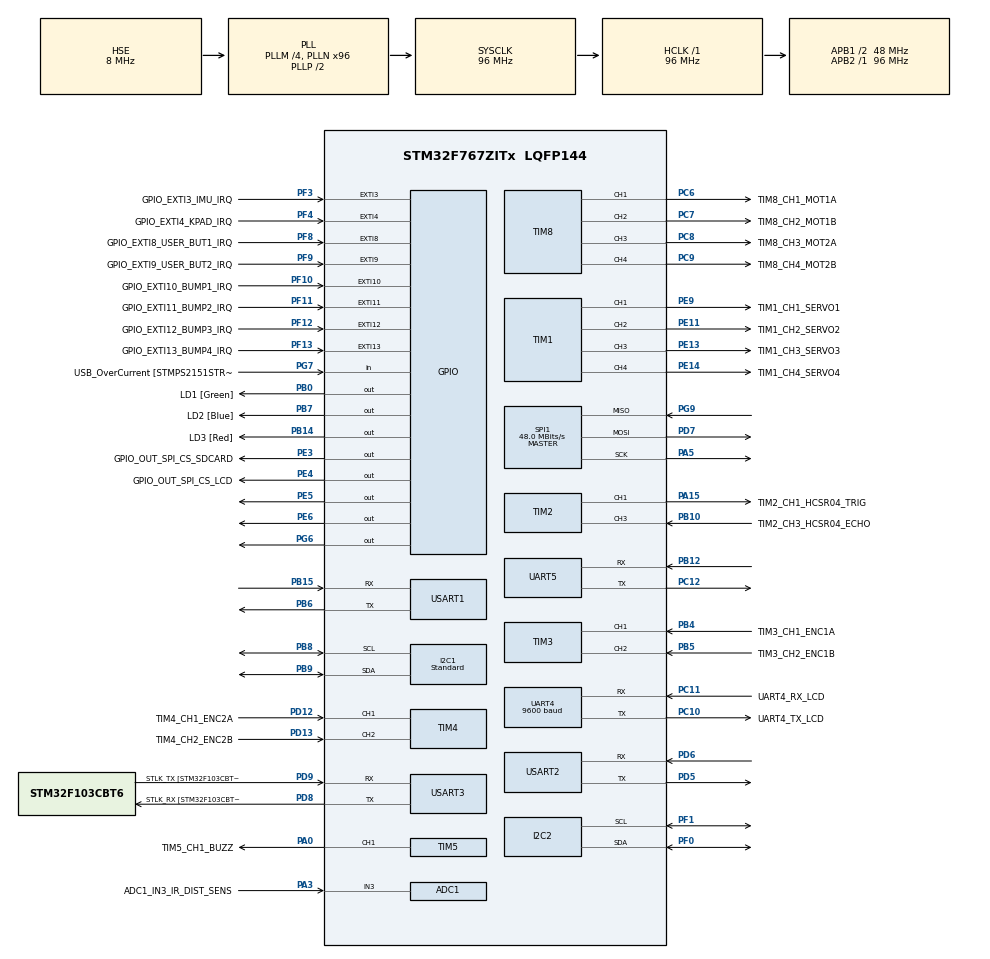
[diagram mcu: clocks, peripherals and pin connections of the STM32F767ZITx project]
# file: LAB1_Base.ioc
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ADC1.Channel-1\#ChannelRegularConversion=ADC_CHANNEL_3
ADC1.NbrOfConversionFlag=1
ADC1.Rank-1\#ChannelRegularConversion=1
ADC1.SamplingTime-1\#ChannelRegularConversion=ADC_SAMPLETIME_3CYCLES
ADC1.master=1
I2C1.I2C_Speed_Mode=I2C_Standard
I2C1.Timing=0x20303E5D
I2C2.Timing=0x20303E5D
Mcu.Family=STM32F7
Mcu.Name=STM32F767ZITx
Mcu.Package=LQFP144
Mcu.UserConstants=TIM8_PSC_VALUE,959;TIM8_ARR_VALUE,400;TIM1_PSC_VALUE,959;TIM1_ARR_VALUE,200
NVIC.EXTI4_IRQn=true\:1\:0\:true\:false\:true\:true\:true\:true
NVIC.EXTI9_5_IRQn=true\:0\:0\:false\:false\:true\:true\:true\:true
NVIC.PriorityGroup=NVIC_PRIORITYGROUP_4
PA0/WKUP.GPIO_Label=TIM5_CH1_BUZZ
PA0/WKUP.Signal=S_TIM5_CH1
PA1.GPIO_Label=RMII_REF_CLK [LAN8742A-CZ-TR_REFCLK0]
PA1.Signal=ETH_REF_CLK
PA10.GPIO_Label=USB_ID
PA10.Signal=USB_OTG_FS_ID
PA11.GPIO_Label=USB_DM
PA11.Signal=USB_OTG_FS_DM
PA12.GPIO_Label=USB_DP
PA12.Signal=USB_OTG_FS_DP
PA13.GPIO_Label=TMS
PA13.Mode=Serial_Wire
PA13.Signal=SYS_JTMS-SWDIO
PA14.GPIO_Label=TCK
PA14.Mode=Serial_Wire
PA14.Signal=SYS_JTCK-SWCLK
PA15.GPIO_Label=TIM2_CH1_HCSR04_TRIG
PA15.Signal=S_TIM2_CH1_ETR
PA2.GPIO_Label=RMII_MDIO [LAN8742A-CZ-TR_MDIO]
PA2.Signal=ETH_MDIO
PA3.GPIO_Label=ADC1_IN3_IR_DIST_SENS
PA3.Signal=ADCx_IN3
PA5.Mode=Full_Duplex_Master
PA5.Signal=SPI1_SCK
PA7.GPIO_Label=RMII_CRS_DV [LAN8742A-CZ-TR_CRS_DV]
PA7.Signal=ETH_CRS_DV
PA8.GPIO_Label=USB_SOF [TP1]
PA8.Signal=USB_OTG_FS_SOF
PA9.GPIO_Label=USB_VBUS
PA9.Signal=USB_OTG_FS_VBUS
PB0.GPIO_Label=LD1 [Green]
PB0.Signal=GPIO_Output
PB10.GPIO_Label=TIM2_CH3_HCSR04_ECHO
PB10.Signal=S_TIM2_CH3
PB12.Mode=Asynchronous
PB12.Signal=UART5_RX
PB13.GPIO_Label=RMII_TXD1 [LAN8742A-CZ-TR_TXD1]
PB13.Signal=ETH_TXD1
PB14.GPIO_Label=LD3 [Red]
PB14.Signal=GPIO_Output
PB15.Mode=Asynchronous
PB15.Signal=USART1_RX
PB3.GPIO_Label=SWO
PB3.Signal=SYS_JTDO-SWO
PB4.GPIO_Label=TIM3_CH1_ENC1A
PB4.Signal=S_TIM3_CH1
PB5.GPIO_Label=TIM3_CH2_ENC1B
PB5.Signal=S_TIM3_CH2
PB6.Mode=Asynchronous
PB6.Signal=USART1_TX
PB7.GPIO_Label=LD2 [Blue]
PB7.Signal=GPIO_Output
PB8.GPIO_Pu=GPIO_PULLUP
PB8.Mode=I2C
PB8.Signal=I2C1_SCL
PB9.GPIO_Pu=GPIO_PULLUP
PB9.Mode=I2C
PB9.Signal=I2C1_SDA
PC1.GPIO_Label=RMII_MDC [LAN8742A-CZ-TR_MDC]
PC1.Signal=ETH_MDC
PC10.GPIO_Label=UART4_TX_LCD
PC10.Mode=Asynchronous
PC10.Signal=UART4_TX
PC11.GPIO_Label=UART4_RX_LCD
PC11.Mode=Asynchronous
PC11.Signal=UART4_RX
PC12.Mode=Asynchronous
PC12.Signal=UART5_TX
PC14/OSC32_IN.Mode=LSE-External-Oscillator
PC14/OSC32_IN.Signal=RCC_OSC32_IN
PC15/OSC32_OUT.Mode=LSE-External-Oscillator
PC15/OSC32_OUT.Signal=RCC_OSC32_OUT
PC4.GPIO_Label=RMII_RXD0 [LAN8742A-CZ-TR_RXD0]
PC4.Signal=ETH_RXD0
PC5.GPIO_Label=RMII_RXD1 [LAN8742A-CZ-TR_RXD1]
PC5.Signal=ETH_RXD1
PC6.GPIO_Label=TIM8_CH1_MOT1A
PC6.Signal=S_TIM8_CH1
PC7.GPIO_Label=TIM8_CH2_MOT1B
PC7.Signal=S_TIM8_CH2
PC8.GPIO_Label=TIM8_CH3_MOT2A
PC8.Signal=S_TIM8_CH3
PC9.GPIO_Label=TIM8_CH4_MOT2B
PC9.Signal=S_TIM8_CH4
PD12.GPIO_Label=TIM4_CH1_ENC2A
PD12.Signal=S_TIM4_CH1
PD13.GPIO_Label=TIM4_CH2_ENC2B
PD13.Signal=S_TIM4_CH2
PD5.Mode=Asynchronous
PD5.Signal=USART2_TX
PD6.Mode=Asynchronous
PD6.Signal=USART2_RX
PD7.Mode=Full_Duplex_Master
PD7.Signal=SPI1_MOSI
PD8.GPIO_Label=STLK_RX [STM32F103CBT6_PA3]
PD8.Mode=Asynchronous
PD8.Signal=USART3_TX
PD9.GPIO_Label=STLK_TX [STM32F103CBT6_PA2]
PD9.Mode=Asynchronous
PD9.Signal=USART3_RX
PE11.GPIO_Label=TIM1_CH2_SERVO2
PE11.Signal=S_TIM1_CH2
PE13.GPIO_Label=TIM1_CH3_SERVO3
PE13.Signal=S_TIM1_CH3
PE14.GPIO_Label=TIM1_CH4_SERVO4
PE14.Signal=S_TIM1_CH4
PE3.GPIO_Label=GPIO_OUT_SPI_CS_SDCARD
PE3.Signal=GPIO_Output
PE4.GPIO_Label=GPIO_OUT_SPI_CS_LCD
PE4.Signal=GPIO_Output
PE5.Signal=GPIO_Output
PE6.Signal=GPIO_Output
PE9.GPIO_Label=TIM1_CH1_SERVO1
PE9.Signal=S_TIM1_CH1
PF0.GPIO_Pu=GPIO_PULLUP
PF0.Mode=I2C
PF0.Signal=I2C2_SDA
PF1.GPIO_Pu=GPIO_PULLUP
PF1.Mode=I2C
PF1.Signal=I2C2_SCL
PF10.GPIO_Label=GPIO_EXTI10_BUMP1_IRQ
PF10.Signal=GPXTI10
PF11.GPIO_Label=GPIO_EXTI11_BUMP2_IRQ
PF11.Signal=GPXTI11
PF12.GPIO_Label=GPIO_EXTI12_BUMP3_IRQ
PF12.Signal=GPXTI12
PF13.GPIO_Label=GPIO_EXTI13_BUMP4_IRQ
PF13.Signal=GPXTI13
PF3.GPIO_Label=GPIO_EXTI3_IMU_IRQ
PF3.Signal=GPXTI3
PF4.GPIO_Label=GPIO_EXTI4_KPAD_IRQ
PF4.GPIO_ModeDefaultEXTI=GPIO_MODE_IT_FALLING
PF4.Signal=GPXTI4
PF8.GPIO_Label=GPIO_EXTI8_USER_BUT1_IRQ
PF8.Signal=GPXTI8
PF9.GPIO_Label=GPIO_EXTI9_USER_BUT2_IRQ
PF9.Signal=GPXTI9
PG11.GPIO_Label=RMII_TX_EN [LAN8742A-CZ-TR_TXEN]
PG11.Signal=ETH_TX_EN
PG13.GPIO_Label=RMII_TXD0 [LAN8742A-CZ-TR_TXD0]
PG13.Signal=ETH_TXD0
PG6.Signal=GPIO_Output
PG7.GPIO_Label=USB_OverCurrent [STMPS2151STR_FAULT]
PG7.Signal=GPIO_Input
PG9.Mode=Full_Duplex_Master
PG9.Signal=SPI1_MISO
PH0/OSC_IN.GPIO_Label=MCO [STM32F103CBT6_PA8]
PH0/OSC_IN.Mode=HSE-External-Clock-Source
PH0/OSC_IN.Signal=RCC_OSC_IN
PH1/OSC_OUT.Mode=HSE-External-Clock-Source
PH1/OSC_OUT.Signal=RCC_OSC_OUT
ProjectManager.HeapSize=0x200
ProjectManager.StackSize=0x400
ProjectManager.TargetToolchain=STM32CubeIDE
RCC.48MHZClocksFreq_Value=24000000
RCC.AHBFreq_Value=96000000
RCC.APB1CLKDivider=RCC_HCLK_DIV2
RCC.APB1Freq_Value=48000000
RCC.APB1TimFreq_Value=96000000
RCC.APB2Freq_Value=96000000
RCC.APB2TimFreq_Value=96000000
RCC.CortexFreq_Value=96000000
RCC.HCLKFreq_Value=96000000
RCC.HSE_VALUE=8000000
RCC.HSI_VALUE=16000000
RCC.PLLM=4
RCC.PLLMUL=RCC_PLL_MUL9
RCC.PLLN=96
RCC.PLLQ=4
RCC.PLLSourceVirtual=RCC_PLLSOURCE_HSE
RCC.PRESCALERUSB=RCC_USBCLKSOURCE_PLL_DIV1_5
RCC.SYSCLKFreq_VALUE=96000000
RCC.SYSCLKSource=RCC_SYSCLKSOURCE_PLLCLK
RCC.SYSCLKSourceVirtual=RCC_SYSCLKSOURCE_PLLCLK
RCC.USBFreq_Value=48000000
RCC.VCOOutputFreq_Value=192000000
SH.ADCx_IN3.0=ADC1_IN3,IN3
SH.S_TIM1_CH1.0=TIM1_CH1,PWM Generation1 CH1
SH.S_TIM1_CH2.0=TIM1_CH2,PWM Generation2 CH2
SH.S_TIM1_CH3.0=TIM1_CH3,PWM Generation3 CH3
SH.S_TIM1_CH4.0=TIM1_CH4,PWM Generation4 CH4
SH.S_TIM2_CH1_ETR.0=TIM2_CH1,PWM Generation1 CH1
SH.S_TIM2_CH3.0=TIM2_CH3,Input_Capture3_from_TI3
SH.S_TIM3_CH1.0=TIM3_CH1,Encoder_Interface
SH.S_TIM3_CH2.0=TIM3_CH2,Encoder_Interface
SH.S_TIM4_CH1.0=TIM4_CH1,Encoder_Interface
SH.S_TIM4_CH2.0=TIM4_CH2,Encoder_Interface
SH.S_TIM5_CH1.0=TIM5_CH1,PWM Generation1 CH1
SH.S_TIM8_CH1.0=TIM8_CH1,PWM Generation1 CH1
SH.S_TIM8_CH2.0=TIM8_CH2,PWM Generation2 CH2
SH.S_TIM8_CH3.0=TIM8_CH3,PWM Generation3 CH3
SH.S_TIM8_CH4.0=TIM8_CH4,PWM Generation4 CH4
SPI1.CalculateBaudRate=48.0 MBits/s
SPI1.Direction=SPI_DIRECTION_2LINES
SPI1.Mode=SPI_MODE_MASTER
SPI1.VirtualType=VM_MASTER
TIM1.Channel-PWM\ Generation1\ CH1=TIM_CHANNEL_1
TIM1.Channel-PWM\ Generation2\ CH2=TIM_CHANNEL_2
TIM1.Channel-PWM\ Generation3\ CH3=TIM_CHANNEL_3
TIM1.Channel-PWM\ Generation4\ CH4=TIM_CHANNEL_4
TIM1.Period=TIM1_ARR_VALUE
TIM1.Prescaler=TIM1_PSC_VALUE
TIM2.Channel-Input_Capture3_from_TI3=TIM_CHANNEL_3
TIM2.Channel-PWM\ Generation1\ CH1=TIM_CHANNEL_1
TIM5.Channel-PWM\ Generation1\ CH1=TIM_CHANNEL_1
TIM8.Channel-PWM\ Generation1\ CH1=TIM_CHANNEL_1
TIM8.Channel-PWM\ Generation2\ CH2=TIM_CHANNEL_2
TIM8.Channel-PWM\ Generation3\ CH3=TIM_CHANNEL_3
TIM8.Channel-PWM\ Generation4\ CH4=TIM_CHANNEL_4
TIM8.Period=TIM8_ARR_VALUE
TIM8.Prescaler=TIM8_PSC_VALUE
UART4.BaudRate=9600
USART1.VirtualMode-Asynchronous=VM_ASYNC
USART2.VirtualMode-Asynchronous=VM_ASYNC
USART3.VirtualMode-Asynchronous=VM_ASYNC
VP_TIM1_VS_ClockSourceINT.Mode=Internal
VP_TIM2_VS_ClockSourceINT.Mode=Internal
VP_TIM5_VS_ClockSourceINT.Mode=Internal
VP_TIM8_VS_ClockSourceINT.Mode=Internal
board=NUCLEO-F767ZI

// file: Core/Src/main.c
/* USER CODE BEGIN Header */
/**
 ******************************************************************************
 * @file           : main.c
 * @brief          : Main program body
 ******************************************************************************
 * @attention
 *
 * <h2><center>&copy; Copyright (c) 2021 STMicroelectronics.
 * All rights reserved.</center></h2>
 *
 * This software component is licensed by ST under BSD 3-Clause license,
 * the "License"; You may not use this file except in compliance with the
 * License. You may obtain a copy of the License at:
 *                        opensource.org/licenses/BSD-3-Clause
 *
 ******************************************************************************
 */
/* USER CODE END Header */
#include "main.h"

/* USER CODE BEGIN Includes */
#include <stdio.h>
#include <string.h>
#include "SX1509_Registers.h"
/* USER CODE END Includes */

/* USER CODE BEGIN PD */
#define HAL_TIMEOUT 100

#define I2C_TIMEOUT 200

#define SX1509_I2C_ADDR1 0x3E //	SX1509 Proxy Sensors I2C address
#define SX1509_I2C_ADDR2 0x3F //	SX1509 Keypad I2C address
/* USER CODE END PD */

ADC_HandleTypeDef hadc1;

I2C_HandleTypeDef hi2c1;
I2C_HandleTypeDef hi2c2;

SPI_HandleTypeDef hspi1;

TIM_HandleTypeDef htim1;
TIM_HandleTypeDef htim2;
TIM_HandleTypeDef htim3;
TIM_HandleTypeDef htim4;
TIM_HandleTypeDef htim5;
TIM_HandleTypeDef htim8;

UART_HandleTypeDef huart4;
UART_HandleTypeDef huart5;
UART_HandleTypeDef huart1;
UART_HandleTypeDef huart2;
UART_HandleTypeDef huart3;

/* USER CODE BEGIN PV */
const char keypadLayout[4][4] = {
    {'*', '0', '#', 'D'},
    {'7', '8', '9', 'C'},
    {'4', '5', '6', 'B'},
    {'1', '2', '3', 'A'}};

char button;

char input_buffer[4] = {0};  // Max 3 cifre + terminatore
uint8_t input_index = 0;
uint8_t freq_ready = 0;
uint32_t target_freq = 0;

uint32_t period;
/* USER CODE END PV */

void SystemClock_Config(void);
static void MX_GPIO_Init(void);
static void MX_USART3_UART_Init(void);
static void MX_ADC1_Init(void);
static void MX_I2C1_Init(void);
static void MX_I2C2_Init(void);
static void MX_SPI1_Init(void);
static void MX_TIM1_Init(void);
static void MX_TIM2_Init(void);
static void MX_TIM3_Init(void);
static void MX_TIM4_Init(void);
static void MX_TIM5_Init(void);
static void MX_TIM8_Init(void);
static void MX_UART4_Init(void);
static void MX_UART5_Init(void);
static void MX_USART1_UART_Init(void);
static void MX_USART2_UART_Init(void);

/* USER CODE BEGIN 0 */
int _write(int file, char *ptr, int len)
{
	int DataIdx;
	for (DataIdx = 0; DataIdx < len; DataIdx++)
	{
		ITM_SendChar(*ptr++);
	}
	return len;
}

void HAL_GPIO_EXTI_Callback(uint16_t GPIO_Pin)
{
	// EXERCISE 1

	  printf("Interrupt on pin (%d).\n", GPIO_Pin);

	  // EXERCISE 2

	  uint8_t col;
	  uint8_t row;
	  HAL_StatusTypeDef status_col = HAL_I2C_Mem_Read(&hi2c1, SX1509_I2C_ADDR2 << 1, REG_KEY_DATA_1, 1, &col, 1, I2C_TIMEOUT); //col
	  HAL_StatusTypeDef status_row = HAL_I2C_Mem_Read(&hi2c1, SX1509_I2C_ADDR2 << 1, REG_KEY_DATA_2, 1, &row, 1, I2C_TIMEOUT); //row

	  printf("col = %d\n", col);
	  printf("row = %d\n", row);

	  int row_index = -1, col_index = -1;

	  // Ogni bit basso (0) rappresenta il tasto premuto
	  // 0b11111110 = 254 -> bit 0 è 0, quindi indice 0
	  // 0b11111101 = 253 -> bit 1 è 0, quindi indice 1
	  // 0b11111011 = 251 -> bit 2 è 0, quindi indice 2
	  // 0b11110111 = 247 -> bit 3 è 0, quindi indice 3

	  switch (row) {
		case 254: row_index = 0; break;
		case 253: row_index = 1; break;
		case 251: row_index = 2; break;
		case 247: row_index = 3; break;
	  }

	  switch (col) {
		case 254: col_index = 0; break;
		case 253: col_index = 1; break;
		case 251: col_index = 2; break;
		case 247: col_index = 3; break;
	  }
/*
	  if (row_index != -1 && col_index != -1) {
		button = keypadLayout[row_index][col_index];
		printf("button = %c \n", button);
	  } else {
		printf("Invalid key press: col = %d, row = %d\n", col, row);
	  }

*/

  // EXERCISE 4.2

	if (row_index != -1 && col_index != -1) {
	  button = keypadLayout[row_index][col_index];
	  printf("button = %c \n", button);
	  if (button >= '0' && button <= '9') {
		if (input_index < 3) {
		  input_buffer[input_index++] = button;
		}
	  } else if (button == '#') {
		input_buffer[input_index] = '\0'; // chiusura stringa
		target_freq = atoi((char*)input_buffer); // converte la stringa in intero
		freq_ready = 1;
		input_index = 0; // reset buffer
	  } else if (button < '0' || button > '9') {
		// reset se tasto errato o A/B/C/D/*
		input_index = 0;
		target_freq = 0;
		memset((char*)input_buffer, 0, sizeof(input_buffer));
	  }
	  } else {
	  printf("Invalid key press: col = %d, row = %d\n", col, row);
	 }

}

/* USER CODE END 0 */

int main(void)
{
  /* USER CODE BEGIN 1 */
  uint8_t data;
  HAL_StatusTypeDef status;
  /* USER CODE END 1 */

  /* MCU Configuration--------------------------------------------------------*/

  /* Reset of all peripherals, Initializes the Flash interface and the Systick. */
  HAL_Init();

  /* Configure the system clock */
  SystemClock_Config();

  /* Initialize all configured peripherals */
  MX_GPIO_Init();
  MX_USART3_UART_Init();
  MX_ADC1_Init();
  MX_I2C1_Init();
  MX_I2C2_Init();
  MX_SPI1_Init();
  MX_TIM1_Init();
  MX_TIM2_Init();
  MX_TIM3_Init();
  MX_TIM4_Init();
  MX_TIM5_Init();
  MX_TIM8_Init();
  MX_UART4_Init();
  MX_UART5_Init();
  MX_USART1_UART_Init();
  MX_USART2_UART_Init();
  /* USER CODE BEGIN 2 */

  /* Disable LCD SPI SS */
  HAL_GPIO_WritePin(GPIO_OUT_SPI_CS_LCD_GPIO_Port, GPIO_OUT_SPI_CS_LCD_Pin, GPIO_PIN_SET);

  /* Disable EXTI4_IRQ during SX1509 initialization */
  HAL_NVIC_DisableIRQ(EXTI4_IRQn);

  ITM_SendChar('h');

  /* Software reset */
  data = 0x12;
  status = HAL_I2C_Mem_Write(&hi2c1, SX1509_I2C_ADDR2 << 1, REG_RESET, 1, &data, 1, I2C_TIMEOUT);
  if (status != HAL_OK)
    printf("I2C communication error (%X).\n", status);

  data = 0x34;
  status = HAL_I2C_Mem_Write(&hi2c1, SX1509_I2C_ADDR2 << 1, REG_RESET, 1, &data, 1, I2C_TIMEOUT);
  if (status != HAL_OK)
    printf("I2C communication error (%X).\n", status);

  HAL_Delay(100);

  /* Set KeyPad scanning engine */

  /* Set RegClock to 0x40 (enable internal oscillator; 2MHz freq) */
  data = 0x40;
  status = HAL_I2C_Mem_Write(&hi2c1, SX1509_I2C_ADDR2 << 1, REG_CLOCK, 1, &data, 1, I2C_TIMEOUT);
  if (status != HAL_OK)
    printf("I2C communication error (%X).\n", status);

  /* Set Bank A RegDir to 0xF0 (IO[0:3] as out) */
  data = 0xF0;
  status = HAL_I2C_Mem_Write(&hi2c1, SX1509_I2C_ADDR2 << 1, REG_DIR_A, 1, &data, 1, I2C_TIMEOUT);
  if (status != HAL_OK)
    printf("I2C communication error (%X).\n", status);

  /* Set Bank B RegDir to 0x0F (IO[8:11] as in) */
  data = 0x0F;
  status = HAL_I2C_Mem_Write(&hi2c1, SX1509_I2C_ADDR2 << 1, REG_DIR_B, 1, &data, 1, I2C_TIMEOUT);
  if (status != HAL_OK)
    printf("I2C communication error (%X).\n", status);

  /* Set Bank A RegOpenDrain to 0x0F (IO[0:3] as open-drain outputs) */
  data = 0x0F;
  status = HAL_I2C_Mem_Write(&hi2c1, SX1509_I2C_ADDR2 << 1, REG_OPEN_DRAIN_A, 1, &data, 1, I2C_TIMEOUT);
  if (status != HAL_OK)
    printf("I2C communication error (%X).\n", status);

  /* Set Bank B RegPullup to 0x0F (pull-ups enabled on inputs IO[8:11]) */
  data = 0x0F;
  status = HAL_I2C_Mem_Write(&hi2c1, SX1509_I2C_ADDR2 << 1, REG_PULL_UP_B, 1, &data, 1, I2C_TIMEOUT);
  if (status != HAL_OK)
    printf("I2C communication error (%X).\n", status);

  /* Set Bank B RegDebounceEnable to 0x0F (enable debouncing on IO[8:11]) */
  data = 0x0F;
  status = HAL_I2C_Mem_Write(&hi2c1, SX1509_I2C_ADDR2 << 1, REG_DEBOUNCE_ENABLE_B, 1, &data, 1, I2C_TIMEOUT);
  if (status != HAL_OK)
    printf("I2C communication error (%X).\n", status);

  /* Set RegDebounceConfig to 0x05 (16ms debounce time) */
  data = 0x05;
  status = HAL_I2C_Mem_Write(&hi2c1, SX1509_I2C_ADDR2 << 1, REG_DEBOUNCE_CONFIG, 1, &data, 1, I2C_TIMEOUT);
  if (status != HAL_OK)
    printf("I2C communication error (%X).\n", status);

  /* Set RegKeyConfig1 to 0x7D (8s auto-sleep; 32ms scan time per row) */
  data = 0x7D;
  status = HAL_I2C_Mem_Write(&hi2c1, SX1509_I2C_ADDR2 << 1, REG_KEY_CONFIG_1, 1, &data, 1, I2C_TIMEOUT);
  if (status != HAL_OK)
    printf("I2C communication error (%X).\n", status);

  /* Set RegKeyConfig2 to 0x1B (4 rows; 4 columns) */
  data = 0x1B;
  status = HAL_I2C_Mem_Write(&hi2c1, SX1509_I2C_ADDR2 << 1, REG_KEY_CONFIG_2, 1, &data, 1, I2C_TIMEOUT);
  if (status != HAL_OK)
    printf("I2C communication error (%X).\n", status);

  /* Enable EXTI4_IRQ after SX1509 initialization */
  HAL_Delay(100);
  HAL_NVIC_EnableIRQ(EXTI4_IRQn);

  /* Disable EXTI2_IRQ during SX1509 initialization */
  HAL_NVIC_DisableIRQ(EXTI2_IRQn);

  /* Software reset */
  data = 0x12;
  status = HAL_I2C_Mem_Write(&hi2c1, SX1509_I2C_ADDR1 << 1, REG_RESET, 1, &data, 1, I2C_TIMEOUT);
  if (status != HAL_OK)
    printf("I2C communication error (%X).\n", status);

  data = 0x34;
  status = HAL_I2C_Mem_Write(&hi2c1, SX1509_I2C_ADDR1 << 1, REG_RESET, 1, &data, 1, I2C_TIMEOUT);
  if (status != HAL_OK)
    printf("I2C communication error (%X).\n", status);

  HAL_Delay(100);

  /* Set RegDirA to 0xFF (all IO of Bank A configured as inputs) */
  data = 0xFF; // 0 = out; 1 = in
  status = HAL_I2C_Mem_Write(&hi2c1, SX1509_I2C_ADDR1 << 1, REG_DIR_A, 1, &data, 1, I2C_TIMEOUT);
  if (status != HAL_OK)
    printf("I2C communication error (%X).\n", status);

  /* Set RegDirB to 0xFF (all IO of Bank B configured as inputs) */
  data = 0xFF; // 0 = out; 1 = in
  status = HAL_I2C_Mem_Write(&hi2c1, SX1509_I2C_ADDR1 << 1, REG_DIR_B, 1, &data, 1, I2C_TIMEOUT);
  if (status != HAL_OK)
    printf("I2C communication error (%X).\n", status);

  /* Set RegInterruptMaskA to 0x00 (all IO of Bank A will trigger an interrupt) */
  data = 0x00;
  status = HAL_I2C_Mem_Write(&hi2c1, SX1509_I2C_ADDR1 << 1, REG_INTERRUPT_MASK_A, 1, &data, 1, I2C_TIMEOUT);
  if (status != HAL_OK)
    printf("I2C communication error (%X).\n", status);

  /* Set RegSenseHighA to 0xAA (IO[7:4] of Bank A will trigger an interrupt on falling edge) */
  data = 0xAA;
  status = HAL_I2C_Mem_Write(&hi2c1, SX1509_I2C_ADDR1 << 1, REG_SENSE_HIGH_A, 1, &data, 1, I2C_TIMEOUT);
  if (status != HAL_OK)
    printf("I2C communication error (%X).\n", status);

  /* Set RegSenseLowA to 0xAA (IO[3:0] of Bank A will trigger an interrupt on falling edge) */
  data = 0xAA;
  status = HAL_I2C_Mem_Write(&hi2c1, SX1509_I2C_ADDR1 << 1, REG_SENSE_LOW_A, 1, &data, 1, I2C_TIMEOUT);
  if (status != HAL_OK)
    printf("I2C communication error (%X).\n", status);

  /* Enable EXTI2_IRQ after SX1509 initialization */
  HAL_Delay(100);
  HAL_NVIC_EnableIRQ(EXTI2_IRQn);

  printf("Ready\n");

  /* USER CODE END 2 */

  /* Infinite loop */
  while (1)
  {

    /* USER CODE BEGIN 3 */
  /*
    // EXERCISE 3

	  uint8_t sensor_line;
	  HAL_StatusTypeDef status_sens_line = HAL_I2C_Mem_Read(&hi2c1, SX1509_I2C_ADDR1 << 1, REG_DATA_B, 1, &sensor_line, 1, I2C_TIMEOUT);
	  printf("status sensor line %d\n", sensor_line);
	  HAL_Delay(100);
  */
 /*
    // EXERCIZE 4.1

	  if(button < '1' || button > '9'){
		button = '0';
		HAL_GPIO_WritePin(GPIOE, GPIO_PIN_5, GPIO_PIN_RESET);
		continue;
	  }

	  uint8_t freq = (uint8_t)button - '0';
	  HAL_GPIO_TogglePin(GPIOE, GPIO_PIN_5);
	  period = 1000/freq;
	  HAL_Delay(period/2);
*/

	 // EXERCISE 4.2

	  if (freq_ready && target_freq > 0) {
		uint32_t period = 1000 / target_freq; // periodo in ms
		HAL_GPIO_TogglePin(GPIOE, GPIO_PIN_5);
		HAL_Delay(period / 2); // metà on, metà off
	  } else {
		HAL_GPIO_WritePin(GPIOE, GPIO_PIN_5, GPIO_PIN_RESET);
		HAL_Delay(100); // idle
	  }

  }
  /* USER CODE END 3 */
}

void SystemClock_Config(void)
{
  RCC_OscInitTypeDef RCC_OscInitStruct = {0};
  RCC_ClkInitTypeDef RCC_ClkInitStruct = {0};

  /** Configure LSE Drive Capability
  */
  HAL_PWR_EnableBkUpAccess();

  /** Configure the main internal regulator output voltage
  */
  __HAL_RCC_PWR_CLK_ENABLE();
  __HAL_PWR_VOLTAGESCALING_CONFIG(PWR_REGULATOR_VOLTAGE_SCALE3);

  /** Initializes the RCC Oscillators according to the specified parameters
  * in the RCC_OscInitTypeDef structure.
  */
  RCC_OscInitStruct.OscillatorType = RCC_OSCILLATORTYPE_HSE;
  RCC_OscInitStruct.HSEState = RCC_HSE_BYPASS;
  RCC_OscInitStruct.PLL.PLLState = RCC_PLL_ON;
  RCC_OscInitStruct.PLL.PLLSource = RCC_PLLSOURCE_HSE;
  RCC_OscInitStruct.PLL.PLLM = 4;
  RCC_OscInitStruct.PLL.PLLN = 96;
  RCC_OscInitStruct.PLL.PLLP = RCC_PLLP_DIV2;
  RCC_OscInitStruct.PLL.PLLQ = 4;
  RCC_OscInitStruct.PLL.PLLR = 2;
  if (HAL_RCC_OscConfig(&RCC_OscInitStruct) != HAL_OK)
  {
    Error_Handler();
  }

  /** Activate the Over-Drive mode
  */
  if (HAL_PWREx_EnableOverDrive() != HAL_OK)
  {
    Error_Handler();
  }

  /** Initializes the CPU, AHB and APB buses clocks
  */
  RCC_ClkInitStruct.ClockType = RCC_CLOCKTYPE_HCLK|RCC_CLOCKTYPE_SYSCLK
                              |RCC_CLOCKTYPE_PCLK1|RCC_CLOCKTYPE_PCLK2;
  RCC_ClkInitStruct.SYSCLKSource = RCC_SYSCLKSOURCE_PLLCLK;
  RCC_ClkInitStruct.AHBCLKDivider = RCC_SYSCLK_DIV1;
  RCC_ClkInitStruct.APB1CLKDivider = RCC_HCLK_DIV2;
  RCC_ClkInitStruct.APB2CLKDivider = RCC_HCLK_DIV1;

  if (HAL_RCC_ClockConfig(&RCC_ClkInitStruct, FLASH_LATENCY_3) != HAL_OK)
  {
    Error_Handler();
  }
}

static void MX_ADC1_Init(void)
{

  ADC_ChannelConfTypeDef sConfig = {0};

  /** Configure the global features of the ADC (Clock, Resolution, Data Alignment and number of conversion)
  */
  hadc1.Instance = ADC1;
  hadc1.Init.ClockPrescaler = ADC_CLOCK_SYNC_PCLK_DIV4;
  hadc1.Init.Resolution = ADC_RESOLUTION_12B;
  hadc1.Init.ScanConvMode = ADC_SCAN_DISABLE;
  hadc1.Init.ContinuousConvMode = DISABLE;
  hadc1.Init.DiscontinuousConvMode = DISABLE;
  hadc1.Init.ExternalTrigConvEdge = ADC_EXTERNALTRIGCONVEDGE_NONE;
  hadc1.Init.ExternalTrigConv = ADC_SOFTWARE_START;
  hadc1.Init.DataAlign = ADC_DATAALIGN_RIGHT;
  hadc1.Init.NbrOfConversion = 1;
  hadc1.Init.DMAContinuousRequests = DISABLE;
  hadc1.Init.EOCSelection = ADC_EOC_SINGLE_CONV;
  if (HAL_ADC_Init(&hadc1) != HAL_OK)
  {
    Error_Handler();
  }

  /** Configure for the selected ADC regular channel its corresponding rank in the sequencer and its sample time.
  */
  sConfig.Channel = ADC_CHANNEL_3;
  sConfig.Rank = ADC_REGULAR_RANK_1;
  sConfig.SamplingTime = ADC_SAMPLETIME_3CYCLES;
  if (HAL_ADC_ConfigChannel(&hadc1, &sConfig) != HAL_OK)
  {
    Error_Handler();
  }

}

static void MX_I2C1_Init(void)
{

  hi2c1.Instance = I2C1;
  hi2c1.Init.Timing = 0x20303E5D;
  hi2c1.Init.OwnAddress1 = 0;
  hi2c1.Init.AddressingMode = I2C_ADDRESSINGMODE_7BIT;
  hi2c1.Init.DualAddressMode = I2C_DUALADDRESS_DISABLE;
  hi2c1.Init.OwnAddress2 = 0;
  hi2c1.Init.OwnAddress2Masks = I2C_OA2_NOMASK;
  hi2c1.Init.GeneralCallMode = I2C_GENERALCALL_DISABLE;
  hi2c1.Init.NoStretchMode = I2C_NOSTRETCH_DISABLE;
  if (HAL_I2C_Init(&hi2c1) != HAL_OK)
  {
    Error_Handler();
  }

  /** Configure Analogue filter
  */
  if (HAL_I2CEx_ConfigAnalogFilter(&hi2c1, I2C_ANALOGFILTER_ENABLE) != HAL_OK)
  {
    Error_Handler();
  }

  /** Configure Digital filter
  */
  if (HAL_I2CEx_ConfigDigitalFilter(&hi2c1, 0) != HAL_OK)
  {
    Error_Handler();
  }

}

static void MX_I2C2_Init(void)
{

  hi2c2.Instance = I2C2;
  hi2c2.Init.Timing = 0x20303E5D;
  hi2c2.Init.OwnAddress1 = 0;
  hi2c2.Init.AddressingMode = I2C_ADDRESSINGMODE_7BIT;
  hi2c2.Init.DualAddressMode = I2C_DUALADDRESS_DISABLE;
  hi2c2.Init.OwnAddress2 = 0;
  hi2c2.Init.OwnAddress2Masks = I2C_OA2_NOMASK;
  hi2c2.Init.GeneralCallMode = I2C_GENERALCALL_DISABLE;
  hi2c2.Init.NoStretchMode = I2C_NOSTRETCH_DISABLE;
  if (HAL_I2C_Init(&hi2c2) != HAL_OK)
  {
    Error_Handler();
  }

  /** Configure Analogue filter
  */
  if (HAL_I2CEx_ConfigAnalogFilter(&hi2c2, I2C_ANALOGFILTER_ENABLE) != HAL_OK)
  {
    Error_Handler();
  }

  /** Configure Digital filter
  */
  if (HAL_I2CEx_ConfigDigitalFilter(&hi2c2, 0) != HAL_OK)
  {
    Error_Handler();
  }

}

static void MX_SPI1_Init(void)
{

  /* SPI1 parameter configuration*/
  hspi1.Instance = SPI1;
  hspi1.Init.Mode = SPI_MODE_MASTER;
  hspi1.Init.Direction = SPI_DIRECTION_2LINES;
  hspi1.Init.DataSize = SPI_DATASIZE_4BIT;
  hspi1.Init.CLKPolarity = SPI_POLARITY_LOW;
  hspi1.Init.CLKPhase = SPI_PHASE_1EDGE;
  hspi1.Init.NSS = SPI_NSS_SOFT;
  hspi1.Init.BaudRatePrescaler = SPI_BAUDRATEPRESCALER_2;
  hspi1.Init.FirstBit = SPI_FIRSTBIT_MSB;
  hspi1.Init.TIMode = SPI_TIMODE_DISABLE;
  hspi1.Init.CRCCalculation = SPI_CRCCALCULATION_DISABLE;
  hspi1.Init.CRCPolynomial = 7;
  hspi1.Init.CRCLength = SPI_CRC_LENGTH_DATASIZE;
  hspi1.Init.NSSPMode = SPI_NSS_PULSE_ENABLE;
  if (HAL_SPI_Init(&hspi1) != HAL_OK)
  {
    Error_Handler();
  }

}

static void MX_TIM1_Init(void)
{

  TIM_ClockConfigTypeDef sClockSourceConfig = {0};
  TIM_MasterConfigTypeDef sMasterConfig = {0};
  TIM_OC_InitTypeDef sConfigOC = {0};
  TIM_BreakDeadTimeConfigTypeDef sBreakDeadTimeConfig = {0};

  htim1.Instance = TIM1;
  htim1.Init.Prescaler = TIM1_PSC_VALUE;
  htim1.Init.CounterMode = TIM_COUNTERMODE_UP;
  htim1.Init.Period = TIM1_ARR_VALUE;
  htim1.Init.ClockDivision = TIM_CLOCKDIVISION_DIV1;
  htim1.Init.RepetitionCounter = 0;
  htim1.Init.AutoReloadPreload = TIM_AUTORELOAD_PRELOAD_DISABLE;
  if (HAL_TIM_Base_Init(&htim1) != HAL_OK)
  {
    Error_Handler();
  }
  sClockSourceConfig.ClockSource = TIM_CLOCKSOURCE_INTERNAL;
  if (HAL_TIM_ConfigClockSource(&htim1, &sClockSourceConfig) != HAL_OK)
  {
    Error_Handler();
  }
  if (HAL_TIM_PWM_Init(&htim1) != HAL_OK)
  {
    Error_Handler();
  }
  sMasterConfig.MasterOutputTrigger = TIM_TRGO_RESET;
  sMasterConfig.MasterOutputTrigger2 = TIM_TRGO2_RESET;
  sMasterConfig.MasterSlaveMode = TIM_MASTERSLAVEMODE_DISABLE;
  if (HAL_TIMEx_MasterConfigSynchronization(&htim1, &sMasterConfig) != HAL_OK)
  {
    Error_Handler();
  }
  sConfigOC.OCMode = TIM_OCMODE_PWM1;
  sConfigOC.Pulse = 0;
  sConfigOC.OCPolarity = TIM_OCPOLARITY_HIGH;
  sConfigOC.OCNPolarity = TIM_OCNPOLARITY_HIGH;
  sConfigOC.OCFastMode = TIM_OCFAST_DISABLE;
  sConfigOC.OCIdleState = TIM_OCIDLESTATE_RESET;
  sConfigOC.OCNIdleState = TIM_OCNIDLESTATE_RESET;
  if (HAL_TIM_PWM_ConfigChannel(&htim1, &sConfigOC, TIM_CHANNEL_1) != HAL_OK)
  {
    Error_Handler();
  }
  if (HAL_TIM_PWM_ConfigChannel(&htim1, &sConfigOC, TIM_CHANNEL_2) != HAL_OK)
  {
    Error_Handler();
  }
  if (HAL_TIM_PWM_ConfigChannel(&htim1, &sConfigOC, TIM_CHANNEL_3) != HAL_OK)
  {
    Error_Handler();
  }
  if (HAL_TIM_PWM_ConfigChannel(&htim1, &sConfigOC, TIM_CHANNEL_4) != HAL_OK)
  {
    Error_Handler();
  }
  sBreakDeadTimeConfig.OffStateRunMode = TIM_OSSR_DISABLE;
  sBreakDeadTimeConfig.OffStateIDLEMode = TIM_OSSI_DISABLE;
  sBreakDeadTimeConfig.LockLevel = TIM_LOCKLEVEL_OFF;
  sBreakDeadTimeConfig.DeadTime = 0;
  sBreakDeadTimeConfig.BreakState = TIM_BREAK_DISABLE;
  sBreakDeadTimeConfig.BreakPolarity = TIM_BREAKPOLARITY_HIGH;
  sBreakDeadTimeConfig.BreakFilter = 0;
  sBreakDeadTimeConfig.Break2State = TIM_BREAK2_DISABLE;
  sBreakDeadTimeConfig.Break2Polarity = TIM_BREAK2POLARITY_HIGH;
  sBreakDeadTimeConfig.Break2Filter = 0;
  sBreakDeadTimeConfig.AutomaticOutput = TIM_AUTOMATICOUTPUT_DISABLE;
  if (HAL_TIMEx_ConfigBreakDeadTime(&htim1, &sBreakDeadTimeConfig) != HAL_OK)
  {
    Error_Handler();
  }
  HAL_TIM_MspPostInit(&htim1);

}

static void MX_TIM2_Init(void)
{

  TIM_ClockConfigTypeDef sClockSourceConfig = {0};
  TIM_MasterConfigTypeDef sMasterConfig = {0};
  TIM_OC_InitTypeDef sConfigOC = {0};
  TIM_IC_InitTypeDef sConfigIC = {0};

  htim2.Instance = TIM2;
  htim2.Init.Prescaler = 0;
  htim2.Init.CounterMode = TIM_COUNTERMODE_UP;
  htim2.Init.Period = 4294967295;
  htim2.Init.ClockDivision = TIM_CLOCKDIVISION_DIV1;
  htim2.Init.AutoReloadPreload = TIM_AUTORELOAD_PRELOAD_DISABLE;
  if (HAL_TIM_Base_Init(&htim2) != HAL_OK)
  {
    Error_Handler();
  }
  sClockSourceConfig.ClockSource = TIM_CLOCKSOURCE_INTERNAL;
  if (HAL_TIM_ConfigClockSource(&htim2, &sClockSourceConfig) != HAL_OK)
  {
    Error_Handler();
  }
  if (HAL_TIM_PWM_Init(&htim2) != HAL_OK)
  {
    Error_Handler();
  }
  if (HAL_TIM_IC_Init(&htim2) != HAL_OK)
  {
    Error_Handler();
  }
  sMasterConfig.MasterOutputTrigger = TIM_TRGO_RESET;
  sMasterConfig.MasterSlaveMode = TIM_MASTERSLAVEMODE_DISABLE;
  if (HAL_TIMEx_MasterConfigSynchronization(&htim2, &sMasterConfig) != HAL_OK)
  {
    Error_Handler();
  }
  sConfigOC.OCMode = TIM_OCMODE_PWM1;
  sConfigOC.Pulse = 0;
  sConfigOC.OCPolarity = TIM_OCPOLARITY_HIGH;
  sConfigOC.OCFastMode = TIM_OCFAST_DISABLE;
  if (HAL_TIM_PWM_ConfigChannel(&htim2, &sConfigOC, TIM_CHANNEL_1) != HAL_OK)
  {
    Error_Handler();
  }
  sConfigIC.ICPolarity = TIM_INPUTCHANNELPOLARITY_RISING;
  sConfigIC.ICSelection = TIM_ICSELECTION_DIRECTTI;
  sConfigIC.ICPrescaler = TIM_ICPSC_DIV1;
  sConfigIC.ICFilter = 0;
  if (HAL_TIM_IC_ConfigChannel(&htim2, &sConfigIC, TIM_CHANNEL_3) != HAL_OK)
  {
    Error_Handler();
  }
  HAL_TIM_MspPostInit(&htim2);

}

static void MX_TIM3_Init(void)
{

  TIM_Encoder_InitTypeDef sConfig = {0};
  TIM_MasterConfigTypeDef sMasterConfig = {0};

  htim3.Instance = TIM3;
  htim3.Init.Prescaler = 0;
  htim3.Init.CounterMode = TIM_COUNTERMODE_UP;
  htim3.Init.Period = 65535;
  htim3.Init.ClockDivision = TIM_CLOCKDIVISION_DIV1;
  htim3.Init.AutoReloadPreload = TIM_AUTORELOAD_PRELOAD_DISABLE;
  sConfig.EncoderMode = TIM_ENCODERMODE_TI1;
  sConfig.IC1Polarity = TIM_ICPOLARITY_RISING;
  sConfig.IC1Selection = TIM_ICSELECTION_DIRECTTI;
  sConfig.IC1Prescaler = TIM_ICPSC_DIV1;
  sConfig.IC1Filter = 0;
  sConfig.IC2Polarity = TIM_ICPOLARITY_RISING;
  sConfig.IC2Selection = TIM_ICSELECTION_DIRECTTI;
  sConfig.IC2Prescaler = TIM_ICPSC_DIV1;
  sConfig.IC2Filter = 0;
  if (HAL_TIM_Encoder_Init(&htim3, &sConfig) != HAL_OK)
  {
    Error_Handler();
  }
  sMasterConfig.MasterOutputTrigger = TIM_TRGO_RESET;
  sMasterConfig.MasterSlaveMode = TIM_MASTERSLAVEMODE_DISABLE;
  if (HAL_TIMEx_MasterConfigSynchronization(&htim3, &sMasterConfig) != HAL_OK)
  {
    Error_Handler();
  }

}

static void MX_TIM4_Init(void)
{

  TIM_Encoder_InitTypeDef sConfig = {0};
  TIM_MasterConfigTypeDef sMasterConfig = {0};

  htim4.Instance = TIM4;
  htim4.Init.Prescaler = 0;
  htim4.Init.CounterMode = TIM_COUNTERMODE_UP;
  htim4.Init.Period = 65535;
  htim4.Init.ClockDivision = TIM_CLOCKDIVISION_DIV1;
  htim4.Init.AutoReloadPreload = TIM_AUTORELOAD_PRELOAD_DISABLE;
  sConfig.EncoderMode = TIM_ENCODERMODE_TI1;
  sConfig.IC1Polarity = TIM_ICPOLARITY_RISING;
  sConfig.IC1Selection = TIM_ICSELECTION_DIRECTTI;
  sConfig.IC1Prescaler = TIM_ICPSC_DIV1;
  sConfig.IC1Filter = 0;
  sConfig.IC2Polarity = TIM_ICPOLARITY_RISING;
  sConfig.IC2Selection = TIM_ICSELECTION_DIRECTTI;
  sConfig.IC2Prescaler = TIM_ICPSC_DIV1;
  sConfig.IC2Filter = 0;
  if (HAL_TIM_Encoder_Init(&htim4, &sConfig) != HAL_OK)
  {
    Error_Handler();
  }
  sMasterConfig.MasterOutputTrigger = TIM_TRGO_RESET;
  sMasterConfig.MasterSlaveMode = TIM_MASTERSLAVEMODE_DISABLE;
  if (HAL_TIMEx_MasterConfigSynchronization(&htim4, &sMasterConfig) != HAL_OK)
  {
    Error_Handler();
  }

}

static void MX_TIM5_Init(void)
{

  TIM_ClockConfigTypeDef sClockSourceConfig = {0};
  TIM_MasterConfigTypeDef sMasterConfig = {0};
  TIM_OC_InitTypeDef sConfigOC = {0};

  htim5.Instance = TIM5;
  htim5.Init.Prescaler = 0;
  htim5.Init.CounterMode = TIM_COUNTERMODE_UP;
  htim5.Init.Period = 4294967295;
  htim5.Init.ClockDivision = TIM_CLOCKDIVISION_DIV1;
  htim5.Init.AutoReloadPreload = TIM_AUTORELOAD_PRELOAD_DISABLE;
  if (HAL_TIM_Base_Init(&htim5) != HAL_OK)
  {
    Error_Handler();
  }
  sClockSourceConfig.ClockSource = TIM_CLOCKSOURCE_INTERNAL;
  if (HAL_TIM_ConfigClockSource(&htim5, &sClockSourceConfig) != HAL_OK)
  {
    Error_Handler();
  }
  if (HAL_TIM_PWM_Init(&htim5) != HAL_OK)
  {
    Error_Handler();
  }
  sMasterConfig.MasterOutputTrigger = TIM_TRGO_RESET;
  sMasterConfig.MasterSlaveMode = TIM_MASTERSLAVEMODE_DISABLE;
  if (HAL_TIMEx_MasterConfigSynchronization(&htim5, &sMasterConfig) != HAL_OK)
  {
    Error_Handler();
  }
  sConfigOC.OCMode = TIM_OCMODE_PWM1;
  sConfigOC.Pulse = 0;
  sConfigOC.OCPolarity = TIM_OCPOLARITY_HIGH;
  sConfigOC.OCFastMode = TIM_OCFAST_DISABLE;
  if (HAL_TIM_PWM_ConfigChannel(&htim5, &sConfigOC, TIM_CHANNEL_1) != HAL_OK)
  {
    Error_Handler();
  }
  HAL_TIM_MspPostInit(&htim5);

}

static void MX_TIM8_Init(void)
{

  TIM_ClockConfigTypeDef sClockSourceConfig = {0};
  TIM_MasterConfigTypeDef sMasterConfig = {0};
  TIM_OC_InitTypeDef sConfigOC = {0};
  TIM_BreakDeadTimeConfigTypeDef sBreakDeadTimeConfig = {0};

  htim8.Instance = TIM8;
  htim8.Init.Prescaler = TIM8_PSC_VALUE;
  htim8.Init.CounterMode = TIM_COUNTERMODE_UP;
  htim8.Init.Period = TIM8_ARR_VALUE;
  htim8.Init.ClockDivision = TIM_CLOCKDIVISION_DIV1;
  htim8.Init.RepetitionCounter = 0;
  htim8.Init.AutoReloadPreload = TIM_AUTORELOAD_PRELOAD_DISABLE;
  if (HAL_TIM_Base_Init(&htim8) != HAL_OK)
  {
    Error_Handler();
  }
  sClockSourceConfig.ClockSource = TIM_CLOCKSOURCE_INTERNAL;
  if (HAL_TIM_ConfigClockSource(&htim8, &sClockSourceConfig) != HAL_OK)
  {
    Error_Handler();
  }
  if (HAL_TIM_PWM_Init(&htim8) != HAL_OK)
  {
    Error_Handler();
  }
  sMasterConfig.MasterOutputTrigger = TIM_TRGO_RESET;
  sMasterConfig.MasterOutputTrigger2 = TIM_TRGO2_RESET;
  sMasterConfig.MasterSlaveMode = TIM_MASTERSLAVEMODE_DISABLE;
  if (HAL_TIMEx_MasterConfigSynchronization(&htim8, &sMasterConfig) != HAL_OK)
  {
    Error_Handler();
  }
  sConfigOC.OCMode = TIM_OCMODE_PWM1;
  sConfigOC.Pulse = 0;
  sConfigOC.OCPolarity = TIM_OCPOLARITY_HIGH;
  sConfigOC.OCNPolarity = TIM_OCNPOLARITY_HIGH;
  sConfigOC.OCFastMode = TIM_OCFAST_DISABLE;
  sConfigOC.OCIdleState = TIM_OCIDLESTATE_RESET;
  sConfigOC.OCNIdleState = TIM_OCNIDLESTATE_RESET;
  if (HAL_TIM_PWM_ConfigChannel(&htim8, &sConfigOC, TIM_CHANNEL_1) != HAL_OK)
  {
    Error_Handler();
  }
  if (HAL_TIM_PWM_ConfigChannel(&htim8, &sConfigOC, TIM_CHANNEL_2) != HAL_OK)
  {
    Error_Handler();
  }
  if (HAL_TIM_PWM_ConfigChannel(&htim8, &sConfigOC, TIM_CHANNEL_3) != HAL_OK)
  {
    Error_Handler();
  }
  if (HAL_TIM_PWM_ConfigChannel(&htim8, &sConfigOC, TIM_CHANNEL_4) != HAL_OK)
  {
    Error_Handler();
  }
  sBreakDeadTimeConfig.OffStateRunMode = TIM_OSSR_DISABLE;
  sBreakDeadTimeConfig.OffStateIDLEMode = TIM_OSSI_DISABLE;
  sBreakDeadTimeConfig.LockLevel = TIM_LOCKLEVEL_OFF;
  sBreakDeadTimeConfig.DeadTime = 0;
  sBreakDeadTimeConfig.BreakState = TIM_BREAK_DISABLE;
  sBreakDeadTimeConfig.BreakPolarity = TIM_BREAKPOLARITY_HIGH;
  sBreakDeadTimeConfig.BreakFilter = 0;
  sBreakDeadTimeConfig.Break2State = TIM_BREAK2_DISABLE;
  sBreakDeadTimeConfig.Break2Polarity = TIM_BREAK2POLARITY_HIGH;
  sBreakDeadTimeConfig.Break2Filter = 0;
  sBreakDeadTimeConfig.AutomaticOutput = TIM_AUTOMATICOUTPUT_DISABLE;
  if (HAL_TIMEx_ConfigBreakDeadTime(&htim8, &sBreakDeadTimeConfig) != HAL_OK)
  {
    Error_Handler();
  }
  HAL_TIM_MspPostInit(&htim8);

}

static void MX_UART4_Init(void)
{

  huart4.Instance = UART4;
  huart4.Init.BaudRate = 9600;
  huart4.Init.WordLength = UART_WORDLENGTH_8B;
  huart4.Init.StopBits = UART_STOPBITS_1;
  huart4.Init.Parity = UART_PARITY_NONE;
  huart4.Init.Mode = UART_MODE_TX_RX;
  huart4.Init.HwFlowCtl = UART_HWCONTROL_NONE;
  huart4.Init.OverSampling = UART_OVERSAMPLING_16;
  huart4.Init.OneBitSampling = UART_ONE_BIT_SAMPLE_DISABLE;
  huart4.AdvancedInit.AdvFeatureInit = UART_ADVFEATURE_NO_INIT;
  if (HAL_UART_Init(&huart4) != HAL_OK)
  {
    Error_Handler();
  }

}

static void MX_UART5_Init(void)
{

  huart5.Instance = UART5;
  huart5.Init.BaudRate = 115200;
  huart5.Init.WordLength = UART_WORDLENGTH_8B;
  huart5.Init.StopBits = UART_STOPBITS_1;
  huart5.Init.Parity = UART_PARITY_NONE;
  huart5.Init.Mode = UART_MODE_TX_RX;
  huart5.Init.HwFlowCtl = UART_HWCONTROL_NONE;
  huart5.Init.OverSampling = UART_OVERSAMPLING_16;
  huart5.Init.OneBitSampling = UART_ONE_BIT_SAMPLE_DISABLE;
  huart5.AdvancedInit.AdvFeatureInit = UART_ADVFEATURE_NO_INIT;
  if (HAL_UART_Init(&huart5) != HAL_OK)
  {
    Error_Handler();
  }

}

static void MX_USART1_UART_Init(void)
{

  huart1.Instance = USART1;
  huart1.Init.BaudRate = 115200;
  huart1.Init.WordLength = UART_WORDLENGTH_8B;
  huart1.Init.StopBits = UART_STOPBITS_1;
  huart1.Init.Parity = UART_PARITY_NONE;
  huart1.Init.Mode = UART_MODE_TX_RX;
  huart1.Init.HwFlowCtl = UART_HWCONTROL_NONE;
  huart1.Init.OverSampling = UART_OVERSAMPLING_16;
  huart1.Init.OneBitSampling = UART_ONE_BIT_SAMPLE_DISABLE;
  huart1.AdvancedInit.AdvFeatureInit = UART_ADVFEATURE_NO_INIT;
  if (HAL_UART_Init(&huart1) != HAL_OK)
  {
    Error_Handler();
  }

}

static void MX_USART2_UART_Init(void)
{

  huart2.Instance = USART2;
  huart2.Init.BaudRate = 115200;
  huart2.Init.WordLength = UART_WORDLENGTH_8B;
  huart2.Init.StopBits = UART_STOPBITS_1;
  huart2.Init.Parity = UART_PARITY_NONE;
  huart2.Init.Mode = UART_MODE_TX_RX;
  huart2.Init.HwFlowCtl = UART_HWCONTROL_NONE;
  huart2.Init.OverSampling = UART_OVERSAMPLING_16;
  huart2.Init.OneBitSampling = UART_ONE_BIT_SAMPLE_DISABLE;
  huart2.AdvancedInit.AdvFeatureInit = UART_ADVFEATURE_NO_INIT;
  if (HAL_UART_Init(&huart2) != HAL_OK)
  {
    Error_Handler();
  }

}

static void MX_USART3_UART_Init(void)
{

  huart3.Instance = USART3;
  huart3.Init.BaudRate = 115200;
  huart3.Init.WordLength = UART_WORDLENGTH_8B;
  huart3.Init.StopBits = UART_STOPBITS_1;
  huart3.Init.Parity = UART_PARITY_NONE;
  huart3.Init.Mode = UART_MODE_TX_RX;
  huart3.Init.HwFlowCtl = UART_HWCONTROL_NONE;
  huart3.Init.OverSampling = UART_OVERSAMPLING_16;
  huart3.Init.OneBitSampling = UART_ONE_BIT_SAMPLE_DISABLE;
  huart3.AdvancedInit.AdvFeatureInit = UART_ADVFEATURE_NO_INIT;
  if (HAL_UART_Init(&huart3) != HAL_OK)
  {
    Error_Handler();
  }

}

static void MX_GPIO_Init(void)
{
  GPIO_InitTypeDef GPIO_InitStruct = {0};

  /* GPIO Ports Clock Enable */
  __HAL_RCC_GPIOE_CLK_ENABLE();
  __HAL_RCC_GPIOC_CLK_ENABLE();
  __HAL_RCC_GPIOF_CLK_ENABLE();
  __HAL_RCC_GPIOH_CLK_ENABLE();
  __HAL_RCC_GPIOA_CLK_ENABLE();
  __HAL_RCC_GPIOB_CLK_ENABLE();
  __HAL_RCC_GPIOD_CLK_ENABLE();
  __HAL_RCC_GPIOG_CLK_ENABLE();

  /*Configure GPIO pin Output Level */
  HAL_GPIO_WritePin(GPIOE, GPIO_OUT_SPI_CS_SDCARD_Pin|GPIO_OUT_SPI_CS_LCD_Pin|GPIO_PIN_5|GPIO_PIN_6, GPIO_PIN_RESET);

  /*Configure GPIO pin Output Level */
  HAL_GPIO_WritePin(GPIOB, LD1_Pin|LD3_Pin|LD2_Pin, GPIO_PIN_RESET);

  /*Configure GPIO pin Output Level */
  HAL_GPIO_WritePin(GPIOG, GPIO_PIN_6, GPIO_PIN_RESET);

  /*Configure GPIO pins : GPIO_OUT_SPI_CS_SDCARD_Pin GPIO_OUT_SPI_CS_LCD_Pin PE5 PE6 */
  GPIO_InitStruct.Pin = GPIO_OUT_SPI_CS_SDCARD_Pin|GPIO_OUT_SPI_CS_LCD_Pin|GPIO_PIN_5|GPIO_PIN_6;
  GPIO_InitStruct.Mode = GPIO_MODE_OUTPUT_PP;
  GPIO_InitStruct.Pull = GPIO_NOPULL;
  GPIO_InitStruct.Speed = GPIO_SPEED_FREQ_LOW;
  HAL_GPIO_Init(GPIOE, &GPIO_InitStruct);

  /*Configure GPIO pins : GPIO_EXTI3_IMU_IRQ_Pin GPIO_EXTI8_USER_BUT1_IRQ_Pin GPIO_EXTI9_USER_BUT2_IRQ_Pin GPIO_EXTI10_BUMP1_IRQ_Pin
                           GPIO_EXTI11_BUMP2_IRQ_Pin GPIO_EXTI12_BUMP3_IRQ_Pin GPIO_EXTI13_BUMP4_IRQ_Pin */
  GPIO_InitStruct.Pin = GPIO_EXTI3_IMU_IRQ_Pin|GPIO_EXTI8_USER_BUT1_IRQ_Pin|GPIO_EXTI9_USER_BUT2_IRQ_Pin|GPIO_EXTI10_BUMP1_IRQ_Pin
                          |GPIO_EXTI11_BUMP2_IRQ_Pin|GPIO_EXTI12_BUMP3_IRQ_Pin|GPIO_EXTI13_BUMP4_IRQ_Pin;
  GPIO_InitStruct.Mode = GPIO_MODE_IT_RISING;
  GPIO_InitStruct.Pull = GPIO_NOPULL;
  HAL_GPIO_Init(GPIOF, &GPIO_InitStruct);

  /*Configure GPIO pin : GPIO_EXTI4_KPAD_IRQ_Pin */
  GPIO_InitStruct.Pin = GPIO_EXTI4_KPAD_IRQ_Pin;
  GPIO_InitStruct.Mode = GPIO_MODE_IT_FALLING;
  GPIO_InitStruct.Pull = GPIO_NOPULL;
  HAL_GPIO_Init(GPIO_EXTI4_KPAD_IRQ_GPIO_Port, &GPIO_InitStruct);

  /*Configure GPIO pins : RMII_MDC_Pin RMII_RXD0_Pin RMII_RXD1_Pin */
  GPIO_InitStruct.Pin = RMII_MDC_Pin|RMII_RXD0_Pin|RMII_RXD1_Pin;
  GPIO_InitStruct.Mode = GPIO_MODE_AF_PP;
  GPIO_InitStruct.Pull = GPIO_NOPULL;
  GPIO_InitStruct.Speed = GPIO_SPEED_FREQ_VERY_HIGH;
  GPIO_InitStruct.Alternate = GPIO_AF11_ETH;
  HAL_GPIO_Init(GPIOC, &GPIO_InitStruct);

  /*Configure GPIO pins : RMII_REF_CLK_Pin RMII_MDIO_Pin RMII_CRS_DV_Pin */
  GPIO_InitStruct.Pin = RMII_REF_CLK_Pin|RMII_MDIO_Pin|RMII_CRS_DV_Pin;
  GPIO_InitStruct.Mode = GPIO_MODE_AF_PP;
  GPIO_InitStruct.Pull = GPIO_NOPULL;
  GPIO_InitStruct.Speed = GPIO_SPEED_FREQ_VERY_HIGH;
  GPIO_InitStruct.Alternate = GPIO_AF11_ETH;
  HAL_GPIO_Init(GPIOA, &GPIO_InitStruct);

  /*Configure GPIO pins : LD1_Pin LD3_Pin LD2_Pin */
  GPIO_InitStruct.Pin = LD1_Pin|LD3_Pin|LD2_Pin;
  GPIO_InitStruct.Mode = GPIO_MODE_OUTPUT_PP;
  GPIO_InitStruct.Pull = GPIO_NOPULL;
  GPIO_InitStruct.Speed = GPIO_SPEED_FREQ_LOW;
  HAL_GPIO_Init(GPIOB, &GPIO_InitStruct);

  /*Configure GPIO pin : RMII_TXD1_Pin */
  GPIO_InitStruct.Pin = RMII_TXD1_Pin;
  GPIO_InitStruct.Mode = GPIO_MODE_AF_PP;
  GPIO_InitStruct.Pull = GPIO_NOPULL;
  GPIO_InitStruct.Speed = GPIO_SPEED_FREQ_VERY_HIGH;
  GPIO_InitStruct.Alternate = GPIO_AF11_ETH;
  HAL_GPIO_Init(RMII_TXD1_GPIO_Port, &GPIO_InitStruct);

  /*Configure GPIO pin : PG6 */
  GPIO_InitStruct.Pin = GPIO_PIN_6;
  GPIO_InitStruct.Mode = GPIO_MODE_OUTPUT_PP;
  GPIO_InitStruct.Pull = GPIO_NOPULL;
  GPIO_InitStruct.Speed = GPIO_SPEED_FREQ_LOW;
  HAL_GPIO_Init(GPIOG, &GPIO_InitStruct);

  /*Configure GPIO pin : USB_OverCurrent_Pin */
  GPIO_InitStruct.Pin = USB_OverCurrent_Pin;
  GPIO_InitStruct.Mode = GPIO_MODE_INPUT;
  GPIO_InitStruct.Pull = GPIO_NOPULL;
  HAL_GPIO_Init(USB_OverCurrent_GPIO_Port, &GPIO_InitStruct);

  /*Configure GPIO pins : USB_SOF_Pin USB_ID_Pin USB_DM_Pin USB_DP_Pin */
  GPIO_InitStruct.Pin = USB_SOF_Pin|USB_ID_Pin|USB_DM_Pin|USB_DP_Pin;
  GPIO_InitStruct.Mode = GPIO_MODE_AF_PP;
  GPIO_InitStruct.Pull = GPIO_NOPULL;
  GPIO_InitStruct.Speed = GPIO_SPEED_FREQ_VERY_HIGH;
  GPIO_InitStruct.Alternate = GPIO_AF10_OTG_FS;
  HAL_GPIO_Init(GPIOA, &GPIO_InitStruct);

  /*Configure GPIO pin : USB_VBUS_Pin */
  GPIO_InitStruct.Pin = USB_VBUS_Pin;
  GPIO_InitStruct.Mode = GPIO_MODE_INPUT;
  GPIO_InitStruct.Pull = GPIO_NOPULL;
  HAL_GPIO_Init(USB_VBUS_GPIO_Port, &GPIO_InitStruct);

  /*Configure GPIO pins : RMII_TX_EN_Pin RMII_TXD0_Pin */
  GPIO_InitStruct.Pin = RMII_TX_EN_Pin|RMII_TXD0_Pin;
  GPIO_InitStruct.Mode = GPIO_MODE_AF_PP;
  GPIO_InitStruct.Pull = GPIO_NOPULL;
  GPIO_InitStruct.Speed = GPIO_SPEED_FREQ_VERY_HIGH;
  GPIO_InitStruct.Alternate = GPIO_AF11_ETH;
  HAL_GPIO_Init(GPIOG, &GPIO_InitStruct);

  /* EXTI interrupt init*/
  HAL_NVIC_SetPriority(EXTI4_IRQn, 1, 0);
  HAL_NVIC_EnableIRQ(EXTI4_IRQn);

  HAL_NVIC_SetPriority(EXTI9_5_IRQn, 0, 0);
  HAL_NVIC_EnableIRQ(EXTI9_5_IRQn);

}

void Error_Handler(void)
{
  __disable_irq();
  while (1)
  {
  }
}
